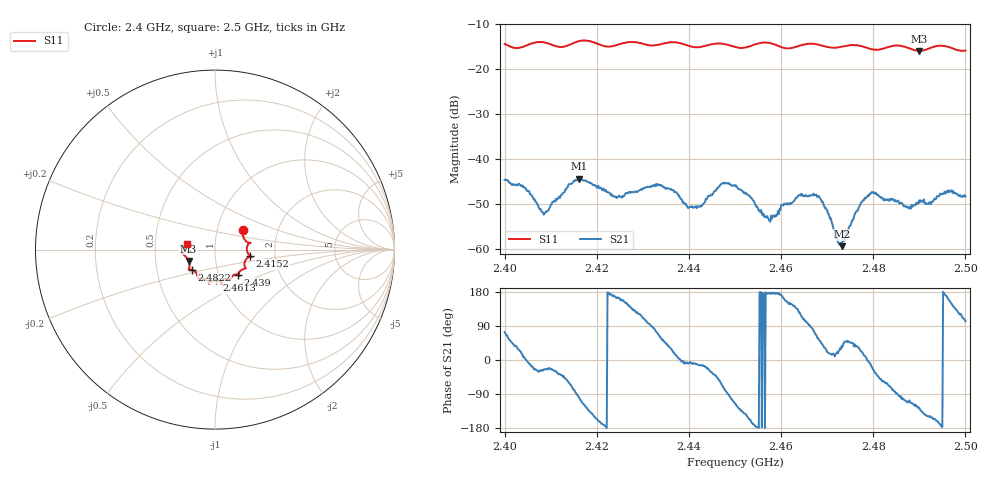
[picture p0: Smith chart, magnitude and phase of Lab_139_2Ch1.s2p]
# Hz S RI R
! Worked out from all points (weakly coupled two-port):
!   601 points, 2.4 GHz to 2.5 GHz, reference 50 ohm
!   highest |S21| = -44.38 dB at 2.4162 GHz (marker M1); lowest = -59.4 dB at 2.4732 GHz (marker M2)
!   lowest |S11| = -15.9 dB at 2.49 GHz (marker M3), VSWR 1.38, Z = 36.9 - j4.85 ohm
!   |S11| at or under -10 dB: start of sweep to end of sweep
!   S12 and S22 are empty: the file has one direction only
!   S11 on the Smith chart (normalised r, x): 2.4 GHz: 1.33, +0.31; 2.4152 GHz: 1.48, -0.11; 2.439 GHz: 1.24, -0.36; 2.4613 GHz: 0.96, -0.34; 2.4822 GHz: 0.76, -0.17; 2.5 GHz: 0.72, +0.05
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2.4e9  0.1562 0.1109  0.00168 0.00565  0 0  0 0
2.404167e9  0.1736 0.0461  0.00487 0.000752  0 0  0 0
2.4085e9  0.1961 0.0393  0.00218 -0.00102  0 0  0 0
2.415167e9  0.1948 -0.0359  0.000982 -0.00561  0 0  0 0
2.416167e9  0.2021 -0.0409  -0.000962 -0.00596  0 0  0 0
2.416667e9  0.2044 -0.0419  -0.00195 -0.00564  0 0  0 0
2.424167e9  0.1635 -0.0868  -0.00368 0.00102  0 0  0 0
2.433333e9  0.1331 -0.1326  0.00194 0.00474  0 0  0 0
2.439e9  0.1284 -0.1393  0.00322 -0.000552  0 0  0 0
2.442167e9  0.0971 -0.147  0.00288 -0.000715  0 0  0 0
2.447333e9  0.0853 -0.1724  0.00199 -0.00507  0 0  0 0
2.45e9  0.0684 -0.1638  -0.00206 -0.00459  0 0  0 0
2.457167e9  0.0399 -0.1939  -0.00219 0.000157  0 0  0 0
2.461333e9  0.0078 -0.1707  -0.00277 0.00141  0 0  0 0
2.466667e9  -0.0333 -0.1901  0.000365 0.00395  0 0  0 0
2.468667e9  -0.0346 -0.1818  0.00245 0.00254  0 0  0 0
2.473167e9  -0.0786 -0.1605  0.000856 0.00065  0 0  0 0
2.477833e9  -0.0967 -0.1505  0.00338 0.000909  0 0  0 0
2.482167e9  -0.128 -0.1121  0.00201 -0.00291  0 0  0 0
2.483333e9  -0.1392 -0.1105  0.00136 -0.0032  0 0  0 0
2.49e9  -0.147 -0.064  -0.00209 -0.00279  0 0  0 0
2.5e9  -0.1588 0.0334  -0.000828 0.00374  0 0  0 0
